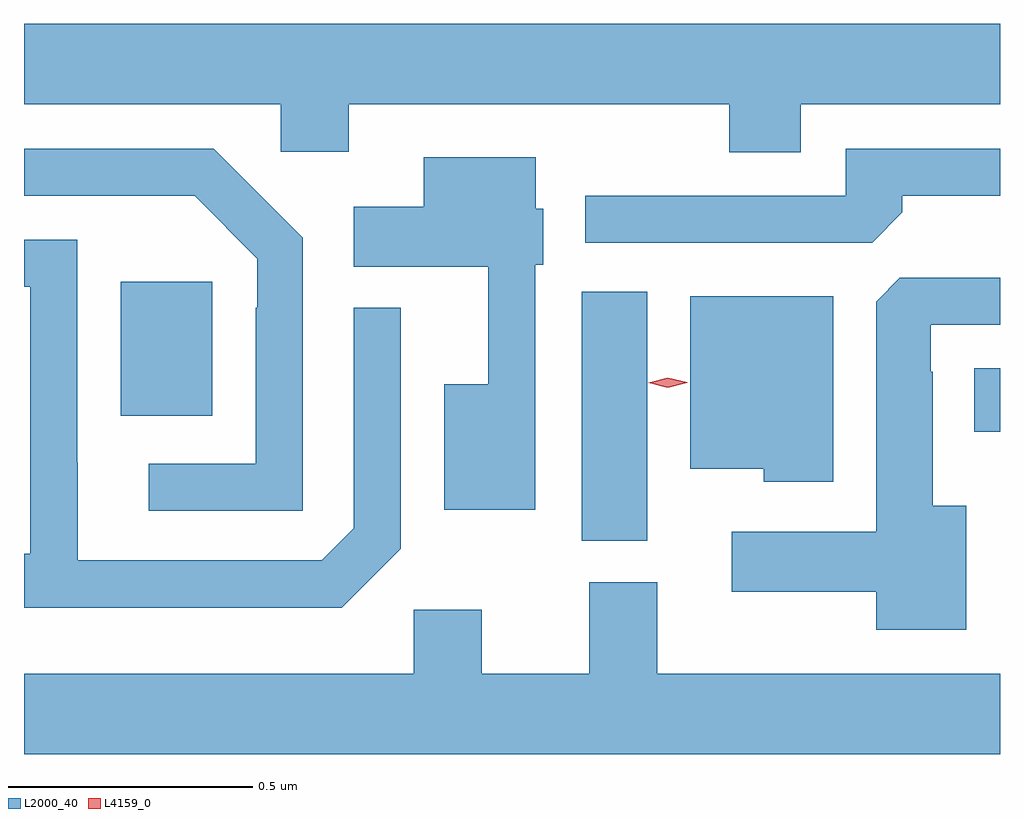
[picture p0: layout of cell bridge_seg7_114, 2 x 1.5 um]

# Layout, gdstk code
import gdstk
lib = gdstk.Library(unit=1e-6, precision=1e-09)
def R(c, l, rs):  # rectangles x0, y0, x1, y1
    for r in rs: c.add(gdstk.rectangle(r[:2], r[2:], *l))
def P(c, l, *ps):  # polygons
    for p in ps: c.add(gdstk.Polygon(p, *l))
L2000_40 = (2000, 40)
L4159_0 = (4159, 0)

bridge_seg7_114 = lib.new_cell('bridge_seg7_114')
R(bridge_seg7_114, L2000_40, [(1041.596,1015.705,1041.73,1016.215), (1042.4,1015.928,1042.453,1016.059), (1040.651,1015.961,1040.839,1016.236)])
P(bridge_seg7_114, L2000_40, [(1042.045,1016.6),(1042.453,1016.6),(1042.453,1016.764),(1040.453,1016.764),(1040.453,1016.6),(1040.979,1016.6),(1040.979,1016.502),(1041.118,1016.502),(1041.118,1016.6),(1041.898,1016.6),(1041.898,1016.501),(1042.045,1016.501)],
  [(1042.253,1016.378),(1042.253,1016.412),(1042.453,1016.412),(1042.453,1016.508),(1042.137,1016.508),(1042.137,1016.412),(1041.603,1016.412),(1041.603,1016.316),(1042.191,1016.316)],
  [(1041.024,1016.326),(1040.842,1016.508),(1040.453,1016.508),(1040.453,1016.412),(1040.803,1016.412),(1040.931,1016.283),(1040.931,1016.183),(1040.928,1016.183),(1040.928,1015.863),(1040.709,1015.863),(1040.709,1015.767),(1041.024,1015.767)],
  [(1041.501,1016.271),(1041.517,1016.271),(1041.517,1016.385),(1041.502,1016.385),(1041.502,1016.491),(1041.272,1016.491),(1041.272,1016.389),(1041.129,1016.389),(1041.129,1016.267),(1041.404,1016.267),(1041.404,1016.026),(1041.314,1016.026),(1041.314,1015.769),(1041.501,1015.769)],
  [(1041.225,1015.689),(1041.225,1016.182),(1041.129,1016.182),(1041.129,1015.731),(1041.063,1015.665),(1040.563,1015.665),(1040.563,1015.865),(1040.562,1015.865),(1040.562,1016.322),(1040.453,1016.322),(1040.453,1016.226),(1040.466,1016.226),(1040.466,1015.678),(1040.453,1015.678),(1040.453,1015.568),(1041.104,1015.568)],
  [(1042.384,1015.777),(1042.315,1015.777),(1042.315,1016.051),(1042.311,1016.051),(1042.311,1016.148),(1042.453,1016.148),(1042.453,1016.244),(1042.248,1016.244),(1042.199,1016.195),(1042.199,1015.723),(1041.903,1015.723),(1041.903,1015.601),(1042.199,1015.601),(1042.199,1015.523),(1042.384,1015.523)],
  [(1042.111,1016.206),(1041.818,1016.206),(1041.818,1015.853),(1041.969,1015.853),(1041.969,1015.826),(1042.111,1015.826)],
  [(1042.453,1015.432),(1041.751,1015.432),(1041.751,1015.62),(1041.611,1015.62),(1041.611,1015.432),(1041.391,1015.432),(1041.391,1015.564),(1041.252,1015.564),(1041.252,1015.432),(1040.453,1015.432),(1040.453,1015.268),(1042.453,1015.268)])
P(bridge_seg7_114, L4159_0, [(1041.772,1016.019),(1041.732,1016.029),(1041.732,1016.029),(1041.732,1016.029),(1041.772,1016.039),(1041.812,1016.03),(1041.812,1016.03),(1041.812,1016.029)])

lib.write_gds('bridge_seg7_114.gds')
